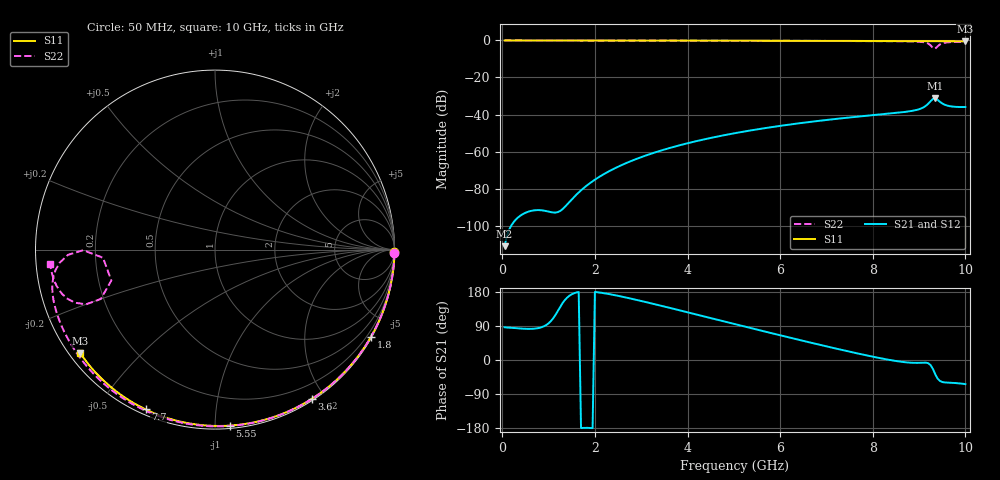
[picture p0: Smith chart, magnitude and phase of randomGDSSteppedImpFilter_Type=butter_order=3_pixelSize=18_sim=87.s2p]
! freq	dB(S11)	phase(S11)	dB(S12)	phase(S12)
!  dB(S21)	phase(S21)	dB(S22)	phase(S22)
!S-par simulation data
#  GHz  S  DB  R 50
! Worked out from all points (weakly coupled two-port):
!   200 points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, 50 MHz to 10 GHz, reference 50 ohm
!   highest |S21| = -31.34 dB at 9.35 GHz (marker M1); lowest = -111.1 dB at 50 MHz (marker M2)
!   lowest |S11| = -0.5 dB at 10 GHz (marker M3), VSWR 36.44, Z = 1.53 - j17 ohm
!   |S11| at or under -10 dB: nowhere
!   |S22| runs from -4.4 to 0.0 dB; largest |S21 - S12| = 0
!   S11 on the Smith chart (normalised r, x): 50 MHz: open; 1.8 GHz: 0.03, -3.83; 3.6 GHz: 0.02, -1.84; 5.55 GHz: 0.02, -1.09; 7.7 GHz: 0.02, -0.66; 10 GHz: 0.03, -0.34
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0.05  -0.00 -0.8  -111.12 86.3  -111.12 86.3  -0.00 -1.0
0.85  -0.02 -14.0  -91.74 86.5  -91.74 86.5  -0.02 -17.6
1.75  -0.04 -28.5  -79.88 -179.2  -79.88 -179.2  -0.05 -35.8
1.8  -0.04 -29.3  -78.85 -179.0  -78.85 -179.0  -0.05 -36.8
2.45  -0.05 -39.5  -68.81 170.6  -68.81 170.6  -0.06 -49.6
3.4  -0.07 -54.1  -59.67 144.0  -59.67 144.0  -0.09 -67.6
3.6  -0.08 -57.1  -58.19 138.0  -58.19 138.0  -0.10 -71.3
5.05  -0.12 -78.1  -49.96 93.9  -49.96 93.9  -0.15 -97.2
5.55  -0.14 -85.1  -47.83 78.7  -47.83 78.7  -0.17 -105.7
6.7  -0.19 -100.5  -43.83 44.6  -43.83 44.6  -0.24 -125.0
7.7  -0.26 -113.5  -41.09 16.6  -41.09 16.6  -0.32 -141.7
8.35  -0.31 -121.7  -39.52 0.5  -39.52 0.5  -0.40 -153.3
8.85  -0.36 -128.0  -38.04 -7.4  -38.04 -7.4  -0.54 -164.0
9.1  -0.38 -131.1  -36.07 -6.9  -36.07 -6.9  -0.95 -172.7
9.2  -0.39 -132.4  -34.10 -8.7  -34.10 -8.7  -1.73 -178.0
9.25  -0.39 -133.0  -32.75 -13.7  -32.75 -13.7  -2.68 -179.7
9.3  -0.40 -133.6  -31.59 -24.0  -31.59 -24.0  -4.07 -175.8
9.35  -0.40 -134.2  -31.34 -37.8  -31.34 -37.8  -4.40 -163.4
9.4  -0.41 -134.9  -32.09 -49.1  -32.09 -49.1  -3.18 -156.6
9.45  -0.41 -135.5  -33.13 -55.3  -33.13 -55.3  -2.15 -157.0
9.65  -0.44 -138.0  -35.44 -59.9  -35.44 -59.9  -0.94 -165.5
10  -0.48 -142.4  -35.96 -63.6  -35.96 -63.6  -0.71 -175.0
